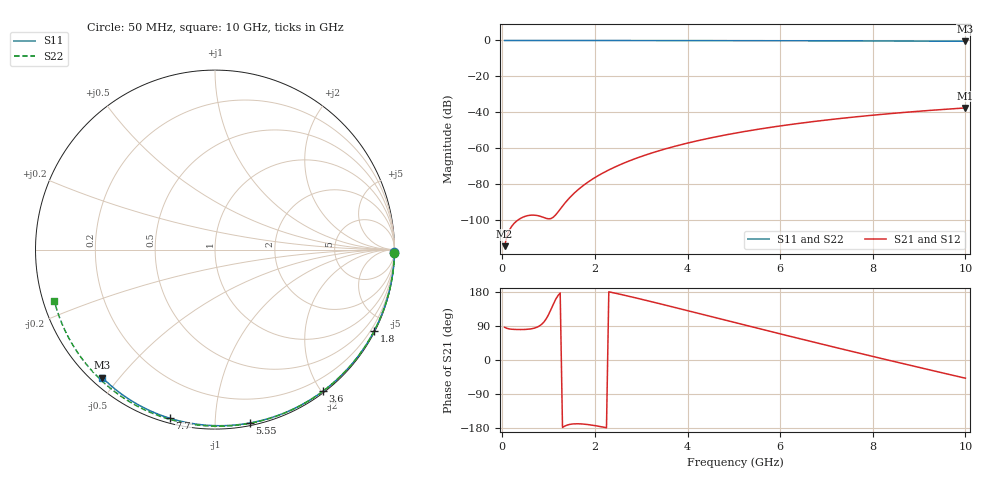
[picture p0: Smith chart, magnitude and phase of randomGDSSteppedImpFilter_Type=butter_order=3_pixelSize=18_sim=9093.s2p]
! freq	dB(S11)	phase(S11)	dB(S12)	phase(S12)
!  dB(S21)	phase(S21)	dB(S22)	phase(S22)
!S-par simulation data
#  GHz  S  DB  R 50
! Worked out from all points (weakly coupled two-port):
!   200 points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, 50 MHz to 10 GHz, reference 50 ohm
!   highest |S21| = -37.50 dB at 10 GHz (marker M1); lowest = -114.3 dB at 50 MHz (marker M2)
!   lowest |S11| = -0.4 dB at 10 GHz (marker M3), VSWR 39.16, Z = 1.54 - j22.6 ohm
!   |S11| at or under -10 dB: nowhere
!   |S22| runs from -0.5 to 0.0 dB; largest |S21 - S12| = 0
!   S11 on the Smith chart (normalised r, x): 50 MHz: open; 1.8 GHz: 0.04, -4.18; 3.6 GHz: 0.02, -2.02; 5.55 GHz: 0.02, -1.22; 7.7 GHz: 0.02, -0.77; 10 GHz: 0.03, -0.45
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0.05  -0.00 -0.8  -114.29 86.3  -114.29 86.3  -0.00 -1.0
0.45  -0.01 -6.8  -98.14 80.5  -98.14 80.5  -0.01 -8.6
0.85  -0.02 -12.8  -97.94 94.2  -97.94 94.2  -0.02 -16.1
1.3  -0.02 -19.5  -92.04 -177.9  -92.04 -177.9  -0.03 -24.5
1.75  -0.03 -26.2  -80.56 -169.1  -80.56 -169.1  -0.04 -32.7
1.8  -0.03 -26.9  -79.61 -169.7  -79.61 -169.7  -0.04 -33.6
1.95  -0.04 -29.1  -76.99 -172.1  -76.99 -172.1  -0.05 -36.4
2.1  -0.04 -31.3  -74.68 -175.3  -74.68 -175.3  -0.05 -39.1
2.3  -0.04 -34.2  -71.94 179.9  -71.94 179.9  -0.05 -42.7
2.5  -0.05 -37.1  -69.52 174.7  -69.52 174.7  -0.06 -46.3
2.9  -0.06 -42.8  -65.38 163.4  -65.38 163.4  -0.07 -53.3
3.4  -0.07 -49.8  -61.15 148.5  -61.15 148.5  -0.08 -61.9
3.6  -0.07 -52.6  -59.68 142.5  -59.68 142.5  -0.09 -65.3
4.3  -0.09 -62.2  -55.23 121.0  -55.23 121.0  -0.11 -77.0
5.05  -0.11 -72.1  -51.40 98.0  -51.40 98.0  -0.14 -89.1
5.55  -0.13 -78.6  -49.23 82.7  -49.23 82.7  -0.16 -96.9
6.1  -0.15 -85.5  -47.13 66.0  -47.13 66.0  -0.19 -105.3
6.7  -0.18 -93.0  -45.12 47.9  -45.12 47.9  -0.22 -114.3
7.7  -0.24 -104.9  -42.27 18.2  -42.27 18.2  -0.29 -128.9
8.35  -0.29 -112.5  -40.70 -0.8  -40.70 -0.8  -0.35 -138.3
9.2  -0.36 -122.3  -38.92 -25.3  -38.92 -25.3  -0.44 -150.5
10  -0.44 -131.3  -37.50 -48.0  -37.50 -48.0  -0.54 -162.2
